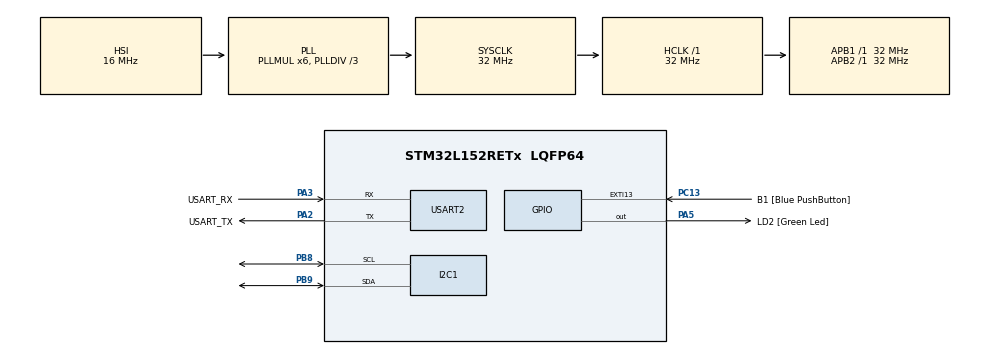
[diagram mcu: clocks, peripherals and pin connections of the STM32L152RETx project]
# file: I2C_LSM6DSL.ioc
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Mcu.Family=STM32L1
Mcu.Name=STM32L152RETx
Mcu.Package=LQFP64
NVIC.PriorityGroup=NVIC_PRIORITYGROUP_0
PA13.GPIO_Label=TMS
PA13.Mode=Serial_Wire
PA13.Signal=SYS_JTMS-SWDIO
PA14.GPIO_Label=TCK
PA14.Mode=Serial_Wire
PA14.Signal=SYS_JTCK-SWCLK
PA2.GPIO_Label=USART_TX
PA2.Mode=Asynchronous
PA2.Signal=USART2_TX
PA3.GPIO_Label=USART_RX
PA3.Mode=Asynchronous
PA3.Signal=USART2_RX
PA5.GPIO_Label=LD2 [Green Led]
PA5.Signal=GPIO_Output
PB3.GPIO_Label=SWO
PB3.Signal=SYS_JTDO-TRACESWO
PB8.Mode=I2C
PB8.Signal=I2C1_SCL
PB9.Mode=I2C
PB9.Signal=I2C1_SDA
PC13-WKUP2.GPIO_Label=B1 [Blue PushButton]
PC13-WKUP2.Signal=GPXTI13
PC14-OSC32_IN.Mode=LSE-External-Oscillator
PC14-OSC32_IN.Signal=RCC_OSC32_IN
PC15-OSC32_OUT.Mode=LSE-External-Oscillator
PC15-OSC32_OUT.Signal=RCC_OSC32_OUT
PH0-OSC_IN.Mode=HSE-External-Clock-Source
PH0-OSC_IN.Signal=RCC_OSC_IN
PH1-OSC_OUT.Signal=RCC_OSC_OUT
ProjectManager.HeapSize=0x200
ProjectManager.StackSize=0x400
ProjectManager.TargetToolchain=STM32CubeIDE
RCC.48MHZClocksFreq_Value=48000000
RCC.AHBFreq_Value=32000000
RCC.APB1Freq_Value=32000000
RCC.APB1TimFreq_Value=32000000
RCC.APB2Freq_Value=32000000
RCC.APB2TimFreq_Value=32000000
RCC.HCLKFreq_Value=32000000
RCC.HSE_VALUE=8000000
RCC.HSI_VALUE=16000000
RCC.MSI_VALUE=2097000
RCC.PLLDIV=RCC_PLL_DIV3
RCC.PLLMUL=RCC_PLL_MUL6
RCC.RTCClockSelectionVirtual=RCC_RTCCLKSOURCE_LSE
RCC.SYSCLKFreq_VALUE=32000000
RCC.SYSCLKSource=RCC_SYSCLKSOURCE_PLLCLK
RCC.USBOutput=48000000
RCC.VCOOutputFreq_Value=96000000
USART2.VirtualMode=VM_ASYNC
board=NUCLEO-L152RE

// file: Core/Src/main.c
/* USER CODE BEGIN Header */
/**
  ******************************************************************************
  * @file           : main.c
  * @brief          : Main program body
  ******************************************************************************
  * @attention
  *
  * Copyright (c) 2026 STMicroelectronics.
  * All rights reserved.
  *
  * This software is licensed under terms that can be found in the LICENSE file
  * in the root directory of this software component.
  * If no LICENSE file comes with this software, it is provided AS-IS.
  *
  ******************************************************************************
  */
/* USER CODE END Header */
#include "main.h"

/* USER CODE BEGIN PD */

#define LSM6DSL_ACC_ADDRESS 0xD6
#define LSM6DSL_WHO_AM_I 0x0F

/* USER CODE END PD */

I2C_HandleTypeDef hi2c1;

UART_HandleTypeDef huart2;

/* USER CODE BEGIN PV */
uint8_t pI2CData, accZ_high,data,data_send[2],data_receive, dataWhoAmI = 0;
uint8_t ctrl[2];
uint8_t adz[2];
uint8_t dataz[6];
int16_t z;

/* USER CODE END PV */

void SystemClock_Config(void);
static void MX_GPIO_Init(void);
static void MX_USART2_UART_Init(void);
static void MX_I2C1_Init(void);

int main(void)
{

  /* MCU Configuration--------------------------------------------------------*/

  /* Reset of all peripherals, Initializes the Flash interface and the Systick. */
  HAL_Init();

  /* Configure the system clock */
  SystemClock_Config();

  /* Initialize all configured peripherals */
  MX_GPIO_Init();
  MX_USART2_UART_Init();
  MX_I2C1_Init();
  /* USER CODE BEGIN 2 */

  pI2CData = 0xF;

  HAL_I2C_Master_Transmit(&hi2c1, LSM6DSL_ACC_ADDRESS, &pI2CData, 1, 50);
  HAL_I2C_Master_Receive(&hi2c1, LSM6DSL_ACC_ADDRESS, &dataWhoAmI, 1, 50);

  ctrl[0] = 0x10; // CTRL1_XL
  ctrl[1] = 0x80; // register

  HAL_I2C_Master_Transmit(&hi2c1, LSM6DSL_ACC_ADDRESS, ctrl, 2, 50);

  adz[0] = 0x2C;
  adz[1] = 0x2D;

  HAL_I2C_Master_Transmit(&hi2c1, LSM6DSL_ACC_ADDRESS, adz, 1, 50);

  HAL_I2C_Master_Receive(&hi2c1, LSM6DSL_ACC_ADDRESS, dataz, 2, 50);

  z =  (dataz[1] << 8) + dataz[0] ;

  /* USER CODE END 2 */

  /* Infinite loop */
  while (1)
  {

    /* USER CODE BEGIN 3 */
	  HAL_I2C_Master_Transmit(&hi2c1, LSM6DSL_ACC_ADDRESS, adz, 1, 50);
	  HAL_I2C_Master_Receive(&hi2c1, LSM6DSL_ACC_ADDRESS, dataz, 2, 50);

	  z =  (dataz[1] << 8) + dataz[0] ;

	  HAL_Delay(50);
  }
  /* USER CODE END 3 */
}

void SystemClock_Config(void)
{
  RCC_OscInitTypeDef RCC_OscInitStruct = {0};
  RCC_ClkInitTypeDef RCC_ClkInitStruct = {0};

  /** Configure the main internal regulator output voltage
  */
  __HAL_PWR_VOLTAGESCALING_CONFIG(PWR_REGULATOR_VOLTAGE_SCALE1);

  /** Initializes the RCC Oscillators according to the specified parameters
  * in the RCC_OscInitTypeDef structure.
  */
  RCC_OscInitStruct.OscillatorType = RCC_OSCILLATORTYPE_HSI;
  RCC_OscInitStruct.HSIState = RCC_HSI_ON;
  RCC_OscInitStruct.HSICalibrationValue = RCC_HSICALIBRATION_DEFAULT;
  RCC_OscInitStruct.PLL.PLLState = RCC_PLL_ON;
  RCC_OscInitStruct.PLL.PLLSource = RCC_PLLSOURCE_HSI;
  RCC_OscInitStruct.PLL.PLLMUL = RCC_PLL_MUL6;
  RCC_OscInitStruct.PLL.PLLDIV = RCC_PLL_DIV3;
  if (HAL_RCC_OscConfig(&RCC_OscInitStruct) != HAL_OK)
  {
    Error_Handler();
  }

  /** Initializes the CPU, AHB and APB buses clocks
  */
  RCC_ClkInitStruct.ClockType = RCC_CLOCKTYPE_HCLK|RCC_CLOCKTYPE_SYSCLK
                              |RCC_CLOCKTYPE_PCLK1|RCC_CLOCKTYPE_PCLK2;
  RCC_ClkInitStruct.SYSCLKSource = RCC_SYSCLKSOURCE_PLLCLK;
  RCC_ClkInitStruct.AHBCLKDivider = RCC_SYSCLK_DIV1;
  RCC_ClkInitStruct.APB1CLKDivider = RCC_HCLK_DIV1;
  RCC_ClkInitStruct.APB2CLKDivider = RCC_HCLK_DIV1;

  if (HAL_RCC_ClockConfig(&RCC_ClkInitStruct, FLASH_LATENCY_1) != HAL_OK)
  {
    Error_Handler();
  }
}

static void MX_I2C1_Init(void)
{

  hi2c1.Instance = I2C1;
  hi2c1.Init.ClockSpeed = 100000;
  hi2c1.Init.DutyCycle = I2C_DUTYCYCLE_2;
  hi2c1.Init.OwnAddress1 = 0;
  hi2c1.Init.AddressingMode = I2C_ADDRESSINGMODE_7BIT;
  hi2c1.Init.DualAddressMode = I2C_DUALADDRESS_DISABLE;
  hi2c1.Init.OwnAddress2 = 0;
  hi2c1.Init.GeneralCallMode = I2C_GENERALCALL_DISABLE;
  hi2c1.Init.NoStretchMode = I2C_NOSTRETCH_DISABLE;
  if (HAL_I2C_Init(&hi2c1) != HAL_OK)
  {
    Error_Handler();
  }

}

static void MX_USART2_UART_Init(void)
{

  huart2.Instance = USART2;
  huart2.Init.BaudRate = 115200;
  huart2.Init.WordLength = UART_WORDLENGTH_8B;
  huart2.Init.StopBits = UART_STOPBITS_1;
  huart2.Init.Parity = UART_PARITY_NONE;
  huart2.Init.Mode = UART_MODE_TX_RX;
  huart2.Init.HwFlowCtl = UART_HWCONTROL_NONE;
  huart2.Init.OverSampling = UART_OVERSAMPLING_16;
  if (HAL_UART_Init(&huart2) != HAL_OK)
  {
    Error_Handler();
  }

}

static void MX_GPIO_Init(void)
{
  GPIO_InitTypeDef GPIO_InitStruct = {0};

  /* GPIO Ports Clock Enable */
  __HAL_RCC_GPIOC_CLK_ENABLE();
  __HAL_RCC_GPIOH_CLK_ENABLE();
  __HAL_RCC_GPIOA_CLK_ENABLE();
  __HAL_RCC_GPIOB_CLK_ENABLE();

  /*Configure GPIO pin Output Level */
  HAL_GPIO_WritePin(LD2_GPIO_Port, LD2_Pin, GPIO_PIN_RESET);

  /*Configure GPIO pin : B1_Pin */
  GPIO_InitStruct.Pin = B1_Pin;
  GPIO_InitStruct.Mode = GPIO_MODE_IT_RISING;
  GPIO_InitStruct.Pull = GPIO_NOPULL;
  HAL_GPIO_Init(B1_GPIO_Port, &GPIO_InitStruct);

  /*Configure GPIO pin : LD2_Pin */
  GPIO_InitStruct.Pin = LD2_Pin;
  GPIO_InitStruct.Mode = GPIO_MODE_OUTPUT_PP;
  GPIO_InitStruct.Pull = GPIO_NOPULL;
  GPIO_InitStruct.Speed = GPIO_SPEED_FREQ_LOW;
  HAL_GPIO_Init(LD2_GPIO_Port, &GPIO_InitStruct);

}

void Error_Handler(void)
{
  __disable_irq();
  while (1)
  {
  }
}
